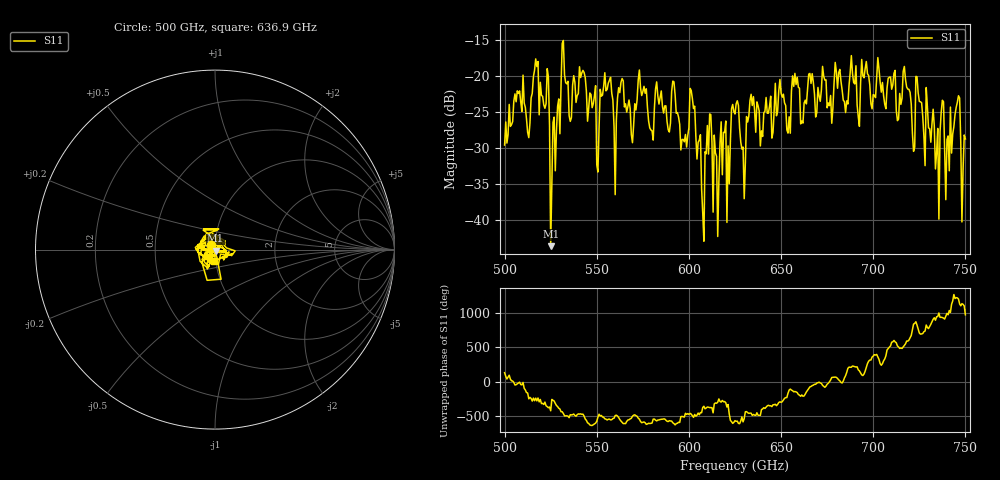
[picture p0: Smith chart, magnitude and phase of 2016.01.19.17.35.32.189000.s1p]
!Created with skrf (http://scikit-rf.org).
# GHz S RI R 50.0
!freq ReS11 ImS11
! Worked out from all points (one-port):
!   401 points, 500 GHz to 750 GHz, reference 50 ohm
!   lowest |S11| = -43.6 dB at 525 GHz (marker M1), VSWR 1.01, Z = 50.3 - j0.602 ohm
!   |S11| at or under -10 dB: start of sweep to end of sweep
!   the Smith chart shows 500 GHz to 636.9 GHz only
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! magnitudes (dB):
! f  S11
! 500 GHz  -29.6
! 506.9 GHz  -22.0
! 513.1 GHz  -28.5
! 516.9 GHz  -17.6
! 523.1 GHz  -19.0
! 525 GHz  -43.6
! 531.2 GHz  -15.5
! 541.9 GHz  -19.6
! 551.2 GHz  -27.1
! 553.1 GHz  -22.6
! 560 GHz  -36.4
! 562.5 GHz  -22.3
! 593.8 GHz  -25.1
! 598.1 GHz  -28.1
! 601.9 GHz  -23.1
! 608.1 GHz  -42.9
! 610.6 GHz  -30.8
! 614.4 GHz  -30.6
! 621.9 GHz  -34.9
! 625 GHz  -25.2
! 629.4 GHz  -29.8
! 633.8 GHz  -22.5
! 656.2 GHz  -20.0
! 687.5 GHz  -19.5
! 718.8 GHz  -21.8
! 735 GHz  -27.3
! 745.6 GHz  -23.6
! 750 GHz  -28.7
